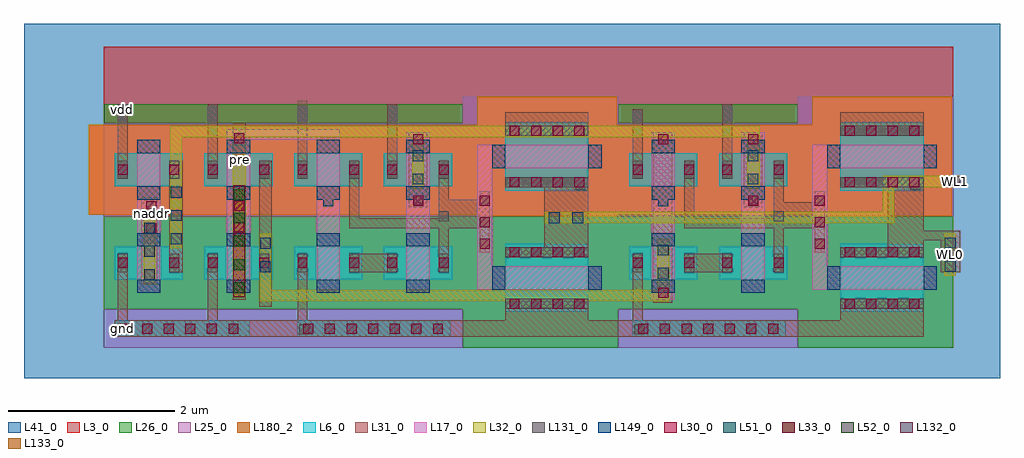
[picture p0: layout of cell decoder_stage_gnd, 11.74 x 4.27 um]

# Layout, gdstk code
from math import pi, radians
import gdstk
lib = gdstk.Library(unit=1e-6, precision=1e-09)
def R(c, l, rs):  # rectangles x0, y0, x1, y1
    for r in rs: c.add(gdstk.rectangle(r[:2], r[2:], *l))
def A(c, l, x, y, w, h, nx, ny, dx, dy):  # array of equal rectangles
    R(c, l, [(x+i*dx, y+j*dy, x+i*dx+w, y+j*dy+h) for i in range(nx) for j in range(ny)])
L3_0 = (3, 0)
L6_0 = (6, 0)
L17_0 = (17, 0)
L25_0 = (25, 0)
L26_0 = (26, 0)
L30_0 = (30, 0)
L31_0 = (31, 0)
L32_0 = (32, 0)
L33_0 = (33, 0)
L41_0 = (41, 0)
L51_0 = (51, 0)
L52_0 = (52, 0)
L131_0 = (131, 0)
L132_0 = (132, 0)
L133_0 = (133, 0)
L149_0 = (149, 0)
L180_2 = (180, 2)

pc_ct = lib.new_cell('pc_ct')
R(pc_ct, L30_0, [(0,0,0.12,0.12)])

nsvt25_cdns_588097396740 = lib.new_cell('nsvt25_CDNS_588097396740')
R(nsvt25_cdns_588097396740, L6_0, [(-0.27,0,0,0.4), (-0.27,0,0.55,0.4), (0.28,0,0.55,0.4)])
R(nsvt25_cdns_588097396740, L17_0, [(0,-0.16,0.28,0.56)])
R(nsvt25_cdns_588097396740, L26_0, [(-0.4,-0.36,0.68,0.76)])
R(nsvt25_cdns_588097396740, L31_0, [(-0.23,0.09,-0.11,0.31), (0.39,0.09,0.51,0.31)])
R(nsvt25_cdns_588097396740, L41_0, [(-0.54,-0.34,0.82,0.74)])
R(nsvt25_cdns_588097396740, L131_0, [(-0.23,0.09,-0.11,0.31), (0.39,0.09,0.51,0.31)])
R(nsvt25_cdns_588097396740, L149_0, [(0,-0.16,0.28,0), (0,0.4,0.28,0.56)])
r = gdstk.Reference(pc_ct, (0.39,0.14)); r.repetition = gdstk.Repetition(1, 1, v1=(0.26,0), v2=(0,0.26)); nsvt25_cdns_588097396740.add(r)
r = gdstk.Reference(pc_ct, (-0.23,0.14)); r.repetition = gdstk.Repetition(1, 1, v1=(0.26,0), v2=(0,0.26)); nsvt25_cdns_588097396740.add(r)
nsvt25_cdns_588097396740.add(gdstk.Label('d', (0.28,0), layer=6, texttype=0))
nsvt25_cdns_588097396740.add(gdstk.Label('s', (0,0), layer=6, texttype=0))
nsvt25_cdns_588097396740.add(gdstk.Label('d', (0.415,0.2), layer=127, texttype=0))
nsvt25_cdns_588097396740.add(gdstk.Label('s', (-0.135,0.2), layer=127, texttype=0))
nsvt25_cdns_588097396740.add(gdstk.Label('d', (0.45,0.2), layer=131, texttype=0))
nsvt25_cdns_588097396740.add(gdstk.Label('s', (-0.17,0.2), layer=131, texttype=0))
nsvt25_cdns_588097396740.add(gdstk.Label('g', (0.14,0.48), layer=149, texttype=0))
nsvt25_cdns_588097396740.add(gdstk.Label('g', (0.14,-0.08), layer=149, texttype=0))

psvt25_cdns_588097396741 = lib.new_cell('psvt25_CDNS_588097396741')
R(psvt25_cdns_588097396741, L3_0, [(-0.58,-0.34,0.86,0.74)])
R(psvt25_cdns_588097396741, L6_0, [(-0.27,0,0,0.4), (-0.27,0,0.55,0.4), (0.28,0,0.55,0.4)])
R(psvt25_cdns_588097396741, L17_0, [(0,-0.16,0.28,0.56)])
R(psvt25_cdns_588097396741, L25_0, [(-0.4,-0.36,0.68,0.76)])
R(psvt25_cdns_588097396741, L31_0, [(-0.23,0.09,-0.11,0.31), (0.39,0.09,0.51,0.31)])
R(psvt25_cdns_588097396741, L41_0, [(-0.58,-0.34,0.86,0.74)])
R(psvt25_cdns_588097396741, L131_0, [(-0.23,0.09,-0.11,0.31), (0.39,0.09,0.51,0.31)])
R(psvt25_cdns_588097396741, L149_0, [(0,-0.16,0.28,0), (0,0.4,0.28,0.56)])
R(psvt25_cdns_588097396741, L180_2, [(-0.58,-0.34,0.86,0.74)])
r = gdstk.Reference(pc_ct, (0.39,0.14)); r.repetition = gdstk.Repetition(1, 1, v1=(0.26,0), v2=(0,0.26)); psvt25_cdns_588097396741.add(r)
r = gdstk.Reference(pc_ct, (-0.23,0.14)); r.repetition = gdstk.Repetition(1, 1, v1=(0.26,0), v2=(0,0.26)); psvt25_cdns_588097396741.add(r)
psvt25_cdns_588097396741.add(gdstk.Label('d', (0.28,0), layer=6, texttype=0))
psvt25_cdns_588097396741.add(gdstk.Label('s', (0,0), layer=6, texttype=0))
psvt25_cdns_588097396741.add(gdstk.Label('d', (0.415,0.2), layer=127, texttype=0))
psvt25_cdns_588097396741.add(gdstk.Label('s', (-0.135,0.2), layer=127, texttype=0))
psvt25_cdns_588097396741.add(gdstk.Label('d', (0.45,0.2), layer=131, texttype=0))
psvt25_cdns_588097396741.add(gdstk.Label('s', (-0.17,0.2), layer=131, texttype=0))
psvt25_cdns_588097396741.add(gdstk.Label('g', (0.14,0.48), layer=149, texttype=0))
psvt25_cdns_588097396741.add(gdstk.Label('g', (0.14,-0.08), layer=149, texttype=0))
psvt25_cdns_588097396741.add(gdstk.Label('b', (0.14,0.2), layer=180, texttype=2))

c_2bit_decoder_gnd = lib.new_cell('2bit_decoder_gnd')
R(c_2bit_decoder_gnd, L3_0, [(0,1.12,2.16,3.16)])
R(c_2bit_decoder_gnd, L17_0, [(0.4,0.92,0.68,1.32), (1.48,0.92,1.76,1.32), (0.4,2.04,0.68,2.13), (1.48,2.04,1.76,2.13)])
R(c_2bit_decoder_gnd, L25_0, [(0,-0.46,0.04,0), (2.14,-0.46,2.16,0)])
R(c_2bit_decoder_gnd, L26_0, [(0,2.24,2.16,2.47)])
A(c_2bit_decoder_gnd, L30_0, 0.24, -0.29, 0.12, 0.12, 7, 1, 0.26, 0)
R(c_2bit_decoder_gnd, L41_0, [(-0.2,-0.46,2.34,2.7), (0,-0.46,2.16,2.7)])
R(c_2bit_decoder_gnd, L131_0, [(0.19,-0.3,0.31,-0.18), (1.87,1.06,1.99,1.18), (0.17,1.67,0.29,1.79)])
R(c_2bit_decoder_gnd, L149_0, [(0.48,1.24,0.6,1.36), (1.56,1.25,1.68,1.37)])
c_2bit_decoder_gnd.add(gdstk.FlexPath([(0.17,-0.23),(2.01,-0.23)], 0.2, ends="flush", simple_path=True, layer=6, datatype=0))  # L6_0
c_2bit_decoder_gnd.add(gdstk.FlexPath([(1.93,0.67),(1.93,1.04)], 0.12, ends=(0, 0.06), simple_path=True, layer=31, datatype=0))  # L31_0
c_2bit_decoder_gnd.add(gdstk.FlexPath([(0.85,1.04),(1.93,1.04)], 0.12, ends="extended", simple_path=True, layer=31, datatype=0))  # L31_0
c_2bit_decoder_gnd.add(gdstk.FlexPath([(0.85,1.57),(0.85,1.04)], 0.12, ends=(0, 0.06), simple_path=True, layer=31, datatype=0))  # L31_0
c_2bit_decoder_gnd.add(gdstk.FlexPath([(1.93,1.04),(1.93,1.57)], 0.12, ends=(0.06, 0), simple_path=True, layer=31, datatype=0))  # L31_0
c_2bit_decoder_gnd.add(gdstk.FlexPath([(0.91,0.56),(1.25,0.56)], 0.22, ends="flush", simple_path=True, layer=31, datatype=0))  # L31_0
c_2bit_decoder_gnd.add(gdstk.FlexPath([(0.23,0.45),(0.23,-0.23)], 0.12, ends="flush", simple_path=True, layer=31, datatype=0))  # L31_0
c_2bit_decoder_gnd.add(gdstk.FlexPath([(1.31,1.79),(1.31,2.47)], 0.12, ends="flush", simple_path=True, layer=31, datatype=0))  # L31_0
c_2bit_decoder_gnd.add(gdstk.FlexPath([(0.23,1.79),(0.23,2.41)], 0.12, ends="flush", simple_path=True, layer=31, datatype=0))  # L31_0
c_2bit_decoder_gnd.add(gdstk.FlexPath([(0.17,-0.23),(2.01,-0.23)], 0.2, ends="flush", simple_path=True, layer=31, datatype=0))  # L31_0
c_2bit_decoder_gnd.add(gdstk.FlexPath([(0.04,-0.23),(2.14,-0.23)], 0.46, ends="flush", simple_path=True, layer=25, datatype=0))  # L25_0
c_2bit_decoder_gnd.add(gdstk.Reference(nsvt25_cdns_588097396740, (0.4,0.36)))
c_2bit_decoder_gnd.add(gdstk.Reference(nsvt25_cdns_588097396740, (1.48,0.36)))
c_2bit_decoder_gnd.add(gdstk.Reference(psvt25_cdns_588097396741, (1.48,1.48)))
c_2bit_decoder_gnd.add(gdstk.Reference(psvt25_cdns_588097396741, (0.4,1.48)))
c_2bit_decoder_gnd.add(gdstk.Label('out', (1.93,1.12), layer=131, texttype=0))
c_2bit_decoder_gnd.add(gdstk.Label('gnd', (0.25,-0.24), layer=131, texttype=0))
c_2bit_decoder_gnd.add(gdstk.Label('vdd', (0.23,1.73), layer=131, texttype=0))
c_2bit_decoder_gnd.add(gdstk.Label('IN2', (0.54,1.3), layer=149, texttype=0))
c_2bit_decoder_gnd.add(gdstk.Label('IN1', (1.62,1.31), layer=149, texttype=0))

nsvt25_cdns_588097396742 = lib.new_cell('nsvt25_CDNS_588097396742')
R(nsvt25_cdns_588097396742, L6_0, [(-0.27,0,0,1), (-0.27,0,0.55,1), (0.28,0,0.55,1)])
R(nsvt25_cdns_588097396742, L17_0, [(0,-0.16,0.28,1.16)])
R(nsvt25_cdns_588097396742, L26_0, [(-0.4,-0.36,0.68,1.36)])
R(nsvt25_cdns_588097396742, L31_0, [(-0.23,0,-0.11,1), (0.39,0,0.51,1)])
R(nsvt25_cdns_588097396742, L41_0, [(-0.54,-0.34,0.82,1.34)])
R(nsvt25_cdns_588097396742, L131_0, [(-0.23,0,-0.11,1), (0.39,0,0.51,1)])
R(nsvt25_cdns_588097396742, L149_0, [(0,-0.16,0.28,0), (0,1,0.28,1.16)])
r = gdstk.Reference(pc_ct, (0.39,0.05)); r.repetition = gdstk.Repetition(1, 4, v1=(0.26,0), v2=(0,0.26)); nsvt25_cdns_588097396742.add(r)
r = gdstk.Reference(pc_ct, (-0.23,0.05)); r.repetition = gdstk.Repetition(1, 4, v1=(0.26,0), v2=(0,0.26)); nsvt25_cdns_588097396742.add(r)
nsvt25_cdns_588097396742.add(gdstk.Label('d', (0.28,0), layer=6, texttype=0))
nsvt25_cdns_588097396742.add(gdstk.Label('s', (0,0), layer=6, texttype=0))
nsvt25_cdns_588097396742.add(gdstk.Label('d', (0.415,0.5), layer=127, texttype=0))
nsvt25_cdns_588097396742.add(gdstk.Label('s', (-0.135,0.5), layer=127, texttype=0))
nsvt25_cdns_588097396742.add(gdstk.Label('d', (0.45,0.5), layer=131, texttype=0))
nsvt25_cdns_588097396742.add(gdstk.Label('s', (-0.17,0.5), layer=131, texttype=0))
nsvt25_cdns_588097396742.add(gdstk.Label('g', (0.14,1.08), layer=149, texttype=0))
nsvt25_cdns_588097396742.add(gdstk.Label('g', (0.14,-0.08), layer=149, texttype=0))

psvt25_cdns_588097396743 = lib.new_cell('psvt25_CDNS_588097396743')
R(psvt25_cdns_588097396743, L3_0, [(-0.58,-0.34,0.86,1.34)])
R(psvt25_cdns_588097396743, L6_0, [(-0.27,0,0,1), (-0.27,0,0.55,1), (0.28,0,0.55,1)])
R(psvt25_cdns_588097396743, L17_0, [(0,-0.16,0.28,1.16)])
R(psvt25_cdns_588097396743, L25_0, [(-0.4,-0.36,0.68,1.36)])
R(psvt25_cdns_588097396743, L31_0, [(-0.23,0,-0.11,1), (0.39,0,0.51,1)])
R(psvt25_cdns_588097396743, L41_0, [(-0.58,-0.34,0.86,1.34)])
R(psvt25_cdns_588097396743, L131_0, [(-0.23,0,-0.11,1), (0.39,0,0.51,1)])
R(psvt25_cdns_588097396743, L149_0, [(0,-0.16,0.28,0), (0,1,0.28,1.16)])
R(psvt25_cdns_588097396743, L180_2, [(-0.58,-0.34,0.86,1.34)])
r = gdstk.Reference(pc_ct, (0.39,0.05)); r.repetition = gdstk.Repetition(1, 4, v1=(0.26,0), v2=(0,0.26)); psvt25_cdns_588097396743.add(r)
r = gdstk.Reference(pc_ct, (-0.23,0.05)); r.repetition = gdstk.Repetition(1, 4, v1=(0.26,0), v2=(0,0.26)); psvt25_cdns_588097396743.add(r)
psvt25_cdns_588097396743.add(gdstk.Label('d', (0.28,0), layer=6, texttype=0))
psvt25_cdns_588097396743.add(gdstk.Label('s', (0,0), layer=6, texttype=0))
psvt25_cdns_588097396743.add(gdstk.Label('d', (0.415,0.5), layer=127, texttype=0))
psvt25_cdns_588097396743.add(gdstk.Label('s', (-0.135,0.5), layer=127, texttype=0))
psvt25_cdns_588097396743.add(gdstk.Label('d', (0.45,0.5), layer=131, texttype=0))
psvt25_cdns_588097396743.add(gdstk.Label('s', (-0.17,0.5), layer=131, texttype=0))
psvt25_cdns_588097396743.add(gdstk.Label('g', (0.14,1.08), layer=149, texttype=0))
psvt25_cdns_588097396743.add(gdstk.Label('g', (0.14,-0.08), layer=149, texttype=0))
psvt25_cdns_588097396743.add(gdstk.Label('b', (0.14,0.5), layer=180, texttype=2))

m1__po_cdns_588097396747 = lib.new_cell('M1__PO_CDNS_588097396747')
R(m1__po_cdns_588097396747, L17_0, [(-0.08,-0.37,0.08,0.37)])
A(m1__po_cdns_588097396747, L30_0, -0.06, -0.32, 0.12, 0.12, 1, 3, 0, 0.26)
R(m1__po_cdns_588097396747, L31_0, [(-0.06,-0.37,0.06,0.37)])

c_1u_invertor = lib.new_cell('1u_invertor')
R(c_1u_invertor, L17_0, [(0.26,0.39,0.44,0.49), (0.26,0.49,0.44,2.02), (0.26,2,0.44,2.06), (0.26,2.06,0.44,2.08), (0.26,2.08,0.44,2.13)])
R(c_1u_invertor, L25_0, [(0.09,1.27,0.24,2.71), (0.24,1.27,1.96,1.45), (0.24,2.53,1.96,2.71)])
R(c_1u_invertor, L26_0, [(0.09,-0.01,0.24,0.09), (0.09,0.09,1.96,1.22), (0.09,1.22,1.96,1.27)])
R(c_1u_invertor, L31_0, [(1.17,0.9,1.6,0.97), (1.17,0.97,1.6,1.71)])
R(c_1u_invertor, L41_0, [(0.08,-0.08,1.96,2.58)])
R(c_1u_invertor, L131_0, [(0.98,0.16,1.1,0.28), (0.29,1.14,0.41,1.26), (1.44,1.59,1.56,1.71), (0.78,2.24,0.9,2.36)])
c_1u_invertor.add(gdstk.Reference(nsvt25_cdns_588097396742, (1.6,0.39), rotation=pi/2))
c_1u_invertor.add(gdstk.Reference(psvt25_cdns_588097396743, (0.6,2.13), rotation=3*pi/2))
c_1u_invertor.add(gdstk.Reference(m1__po_cdns_588097396747, (0.35,1.2)))
c_1u_invertor.add(gdstk.Label('out', (1.5,1.65), layer=131, texttype=0))
c_1u_invertor.add(gdstk.Label('in', (0.35,1.2), layer=131, texttype=0))
c_1u_invertor.add(gdstk.Label('vdd', (0.84,2.3), layer=131, texttype=0))
c_1u_invertor.add(gdstk.Label('gnd', (1.04,0.22), layer=131, texttype=0))

m1__po_cdns_588097396740 = lib.new_cell('M1__PO_CDNS_588097396740')
R(m1__po_cdns_588097396740, L17_0, [(-0.08,-0.11,0.08,0.11)])
R(m1__po_cdns_588097396740, L30_0, [(-0.06,-0.06,0.06,0.06)])
R(m1__po_cdns_588097396740, L31_0, [(-0.06,-0.11,0.06,0.11)])

m1__po_cdns_588097396741 = lib.new_cell('M1__PO_CDNS_588097396741')
R(m1__po_cdns_588097396741, L17_0, [(-0.08,-0.24,0.08,0.24)])
R(m1__po_cdns_588097396741, L30_0, [(-0.06,-0.19,0.06,-0.07), (-0.06,0.07,0.06,0.19)])
R(m1__po_cdns_588097396741, L31_0, [(-0.06,-0.24,0.06,0.24)])

m2_m1_g_cdns_58809739674 = lib.new_cell('M2_M1_G_CDNS_588097396742')
R(m2_m1_g_cdns_58809739674, L31_0, [(-0.395,-0.07,0.395,0.07)])
R(m2_m1_g_cdns_58809739674, L32_0, [(-0.395,-0.07,0.395,0.07)])
A(m2_m1_g_cdns_58809739674, L51_0, -0.345, -0.065, 0.13, 0.13, 3, 1, 0.28, 0)

m2_m1_s_cdns_58809739674 = lib.new_cell('M2_M1_S_CDNS_588097396743')
R(m2_m1_s_cdns_58809739674, L31_0, [(-0.21,-0.115,0.21,0.115)])
R(m2_m1_s_cdns_58809739674, L32_0, [(-0.255,-0.07,0.255,0.07)])
R(m2_m1_s_cdns_58809739674, L51_0, [(-0.205,-0.065,-0.075,0.065), (0.075,-0.065,0.205,0.065)])

c_m2_m1_g_cdns_58809739674 = lib.new_cell('M2_M1_G_CDNS_588097396744')
R(c_m2_m1_g_cdns_58809739674, L31_0, [(-0.255,-0.07,0.255,0.07)])
R(c_m2_m1_g_cdns_58809739674, L32_0, [(-0.255,-0.07,0.255,0.07)])
R(c_m2_m1_g_cdns_58809739674, L51_0, [(-0.205,-0.065,-0.075,0.065), (0.075,-0.065,0.205,0.065)])

c_m2_m1_g_cdns_58809739674_ = lib.new_cell('M2_M1_G_CDNS_588097396745')
R(c_m2_m1_g_cdns_58809739674_, L31_0, [(-0.535,-0.07,0.535,0.07)])
R(c_m2_m1_g_cdns_58809739674_, L32_0, [(-0.535,-0.07,0.535,0.07)])
A(c_m2_m1_g_cdns_58809739674_, L51_0, -0.485, -0.065, 0.13, 0.13, 4, 1, 0.28, 0)

m3_m2_g_cdns_58809739674 = lib.new_cell('M3_M2_G_CDNS_588097396746')
R(m3_m2_g_cdns_58809739674, L32_0, [(-0.675,-0.07,0.675,0.07)])
R(m3_m2_g_cdns_58809739674, L33_0, [(-0.675,-0.07,0.675,0.07)])
A(m3_m2_g_cdns_58809739674, L52_0, -0.625, -0.065, 0.13, 0.13, 5, 1, 0.28, 0)

decoder_stage_gnd = lib.new_cell('decoder_stage_gnd')
R(decoder_stage_gnd, L3_0, [(0.02,1.12,10.24,3.16)])
R(decoder_stage_gnd, L17_0, [(6.61,0.12,6.89,0.2), (0.42,0.92,0.7,1.32), (1.5,0.92,1.78,1.32), (1.5,2.04,1.78,2.17), (1.78,2.04,2.86,2.17)])
R(decoder_stage_gnd, L25_0, [(1.9,-0.46,2.18,0)])
R(decoder_stage_gnd, L26_0, [(4.34,-0.46,6.21,-0.06), (8.37,-0.46,10.24,-0.06), (0.02,2.24,2.18,2.47)])
A(decoder_stage_gnd, L30_0, 0.22, -0.29, 0.12, 0.12, 6, 1, 0.26, 0)
R(decoder_stage_gnd, L31_0, [(8.88,-0.33,9.88,0.11), (4.85,-0.13,5.85,0.01), (2.01,0.03,2.04,1.79), (6.63,0.08,6.86,1.23), (1.57,0.12,1.73,0.32), (0.47,0.3,0.66,1.35), (1.57,0.32,1.73,0.86), (0.93,0.45,0.97,1.79), (5.32,0.75,5.42,0.85), (5.32,0.85,5.42,0.91), (1.57,0.86,1.73,2.24), (5.32,0.91,5.42,0.95), (5.32,0.95,5.68,0.99), (4.17,0.98,4.54,1.32), (8.2,0.98,8.57,1.29), (5.32,0.99,5.68,1.47), (3.69,1.23,3.91,1.99), (6.63,1.23,6.86,1.99), (7.72,1.23,7.94,1.99), (5.32,1.47,5.42,1.53), (6.63,1.99,6.64,2.13), (3.69,2.11,3.91,2.13), (6.64,2.11,6.86,2.13), (7.72,2.11,7.94,2.13), (4.85,2.21,5.85,2.37), (8.88,2.21,9.88,2.37)])
R(decoder_stage_gnd, L32_0, [(1.57,0.14,1.73,1.98)])
R(decoder_stage_gnd, L41_0, [(-0.94,-0.83,10.8,3.44), (-0.21,-0.47,10.01,3.15)])
R(decoder_stage_gnd, L131_0, [(0.18,-0.29,0.3,-0.17), (0.53,1.1,0.65,1.22), (0.19,2.35,0.31,2.47)])
R(decoder_stage_gnd, L132_0, [(10.14,0.6,10.26,0.72), (10.2,1.48,10.32,1.6)])
R(decoder_stage_gnd, L133_0, [(1.59,1.74,1.71,1.86)])
decoder_stage_gnd.add(gdstk.FlexPath([(6.75,0.17),(6.75,0.85)], 0.14, ends=(0.07, 0), simple_path=True, layer=32, datatype=0))  # L32_0
decoder_stage_gnd.add(gdstk.FlexPath([(1.965,0.17),(6.75,0.17)], 0.14, ends="extended", simple_path=True, layer=32, datatype=0))  # L32_0
decoder_stage_gnd.add(gdstk.FlexPath([(7.84,2.14),(7.84,1.46)], 0.14, ends=(0.07, 0), simple_path=True, layer=32, datatype=0))  # L32_0
decoder_stage_gnd.add(gdstk.FlexPath([(5.58,1.105),(9.46,1.105)], 0.14, ends=(0, 0.07), simple_path=True, layer=32, datatype=0))  # L32_0
decoder_stage_gnd.add(gdstk.FlexPath([(9.46,1.105),(9.46,1.54)], 0.14, ends="extended", simple_path=True, layer=32, datatype=0))  # L32_0
decoder_stage_gnd.add(gdstk.FlexPath([(0.89,2.14),(3.8,2.14)], 0.14, ends="extended", simple_path=True, layer=32, datatype=0))  # L32_0
decoder_stage_gnd.add(gdstk.FlexPath([(9.46,1.54),(10.32,1.54)], 0.14, ends=(0.07, 0), simple_path=True, layer=32, datatype=0))  # L32_0
decoder_stage_gnd.add(gdstk.FlexPath([(3.8,2.14),(7.84,2.14)], 0.14, ends="extended", simple_path=True, layer=32, datatype=0))  # L32_0
decoder_stage_gnd.add(gdstk.FlexPath([(3.8,2.14),(3.8,1.71)], 0.14, ends=(0.07, 0), simple_path=True, layer=32, datatype=0))  # L32_0
decoder_stage_gnd.add(gdstk.FlexPath([(1.965,0.655),(1.965,0.17)], 0.14, ends=(0, 0.07), simple_path=True, layer=32, datatype=0))  # L32_0
decoder_stage_gnd.add(gdstk.FlexPath([(7.83,2.14),(7.83,1.71)], 0.14, ends=(0.07, 0), simple_path=True, layer=32, datatype=0))  # L32_0
decoder_stage_gnd.add(gdstk.FlexPath([(0.89,1.13),(0.89,2.14)], 0.14, ends=(0, 0.07), simple_path=True, layer=32, datatype=0))  # L32_0
decoder_stage_gnd.add(gdstk.FlexPath([(0.02,-0.23),(1.9,-0.23)], 0.46, ends="flush", simple_path=True, layer=25, datatype=0))  # L25_0
decoder_stage_gnd.add(gdstk.FlexPath([(1.95,0.45),(1.95,0.03)], 0.12, ends="flush", simple_path=True, layer=31, datatype=0))  # L31_0
decoder_stage_gnd.add(gdstk.FlexPath([(1.33,1.79),(1.33,2.47)], 0.12, ends="flush", simple_path=True, layer=31, datatype=0))  # L31_0
decoder_stage_gnd.add(gdstk.FlexPath([(1.33,0.45),(1.33,-0.23)], 0.12, ends="flush", simple_path=True, layer=31, datatype=0))  # L31_0
decoder_stage_gnd.add(gdstk.FlexPath([(9.88,0.89),(10.26,0.89)], 0.12, ends=(0, 0.06), simple_path=True, layer=31, datatype=0))  # L31_0
decoder_stage_gnd.add(gdstk.FlexPath([(10.26,0.89),(10.26,0.45)], 0.12, ends=(0.06, 0), simple_path=True, layer=31, datatype=0))  # L31_0
decoder_stage_gnd.add(gdstk.FlexPath([(0.25,0.45),(0.25,-0.23)], 0.12, ends="flush", simple_path=True, layer=31, datatype=0))  # L31_0
decoder_stage_gnd.add(gdstk.FlexPath([(0.25,1.79),(0.25,2.47)], 0.12, ends="flush", simple_path=True, layer=31, datatype=0))  # L31_0
decoder_stage_gnd.add(gdstk.FlexPath([(8.22,-0.23),(9.87,-0.23)], 0.2, ends="flush", simple_path=True, layer=31, datatype=0))  # L31_0
decoder_stage_gnd.add(gdstk.FlexPath([(4.19,-0.23),(6.47,-0.23)], 0.2, ends="flush", simple_path=True, layer=31, datatype=0))  # L31_0
decoder_stage_gnd.add(gdstk.FlexPath([(1.77,-0.23),(2.39,-0.23)], 0.2, ends="flush", simple_path=True, layer=31, datatype=0))  # L31_0
decoder_stage_gnd.add(gdstk.FlexPath([(0.15,-0.23),(1.77,-0.23)], 0.2, ends="flush", simple_path=True, layer=31, datatype=0))  # L31_0
decoder_stage_gnd.add(gdstk.FlexPath([(0.87,1.57),(0.87,0.67)], 0.12, ends="flush", simple_path=True, layer=31, datatype=0))  # L31_0
decoder_stage_gnd.add(gdstk.FlexPath([(1.95,0.67),(1.95,1.57)], 0.12, ends="flush", simple_path=True, layer=31, datatype=0))  # L31_0
decoder_stage_gnd.add(gdstk.FlexPath([(2.41,2.41),(2.41,2.51)], 0.12, ends="flush", simple_path=True, layer=31, datatype=0))  # L31_0
decoder_stage_gnd.add(gdstk.FlexPath([(0.15,-0.23),(1.77,-0.23)], 0.2, ends="flush", simple_path=True, layer=6, datatype=0))  # L6_0
decoder_stage_gnd.add(gdstk.Reference(c_2bit_decoder_gnd, (6.21,0)))
decoder_stage_gnd.add(gdstk.Reference(c_2bit_decoder_gnd, (2.18,0)))
decoder_stage_gnd.add(gdstk.Reference(c_1u_invertor, (8.28,-0.15)))
decoder_stage_gnd.add(gdstk.Reference(c_1u_invertor, (4.25,-0.15)))
decoder_stage_gnd.add(gdstk.Reference(nsvt25_cdns_588097396740, (0.42,0.36)))
decoder_stage_gnd.add(gdstk.Reference(nsvt25_cdns_588097396740, (1.5,0.36)))
decoder_stage_gnd.add(gdstk.Reference(psvt25_cdns_588097396741, (0.42,1.48)))
decoder_stage_gnd.add(gdstk.Reference(psvt25_cdns_588097396741, (1.5,1.48)))
decoder_stage_gnd.add(gdstk.Reference(m1__po_cdns_588097396740, (6.75,0.2), rotation=pi/2))
decoder_stage_gnd.add(gdstk.Reference(m1__po_cdns_588097396740, (6.75,2.05), rotation=pi/2))
decoder_stage_gnd.add(gdstk.Reference(m1__po_cdns_588097396740, (7.83,1.31), rotation=pi/2))
decoder_stage_gnd.add(gdstk.Reference(m1__po_cdns_588097396740, (7.83,2.05), rotation=pi/2))
decoder_stage_gnd.add(gdstk.Reference(m1__po_cdns_588097396740, (3.8,1.31), rotation=pi/2))
decoder_stage_gnd.add(gdstk.Reference(m1__po_cdns_588097396740, (3.8,2.05), rotation=pi/2))
decoder_stage_gnd.add(gdstk.Reference(m1__po_cdns_588097396740, (1.65,2.06)))
decoder_stage_gnd.add(gdstk.Reference(m1__po_cdns_588097396741, (0.59,1.11)))
decoder_stage_gnd.add(gdstk.Reference(m1__po_cdns_588097396741, (1.65,1.12)))
decoder_stage_gnd.add(gdstk.Reference(m2_m1_g_cdns_58809739674, (0.89,1.13), rotation=pi/2))
decoder_stage_gnd.add(gdstk.Reference(m2_m1_g_cdns_58809739674, (0.57,0.7), rotation=pi/2))
decoder_stage_gnd.add(gdstk.Reference(m2_m1_s_cdns_58809739674, (10.2,0.66), rotation=3*pi/2))
decoder_stage_gnd.add(gdstk.Reference(m2_m1_s_cdns_58809739674, (5.58,1.105)))
decoder_stage_gnd.add(gdstk.Reference(c_m2_m1_g_cdns_58809739674, (6.75,0.575), rotation=pi/2))
decoder_stage_gnd.add(gdstk.Reference(c_m2_m1_g_cdns_58809739674, (1.965,0.655), rotation=pi/2))
decoder_stage_gnd.add(gdstk.Reference(c_m2_m1_g_cdns_58809739674, (7.83,1.71), rotation=pi/2))
decoder_stage_gnd.add(gdstk.Reference(c_m2_m1_g_cdns_58809739674, (3.8,1.71), rotation=pi/2))
decoder_stage_gnd.add(gdstk.Reference(c_m2_m1_g_cdns_58809739674_, (1.65,0.68), rotation=pi/2))
decoder_stage_gnd.add(gdstk.Reference(m3_m2_g_cdns_58809739674, (1.65,0.82), rotation=pi/2))
decoder_stage_gnd.add(gdstk.Label('naddr', (0.59,1.16), layer=131, texttype=0))
decoder_stage_gnd.add(gdstk.Label('gnd', (0.24,-0.23), layer=131, texttype=0))
decoder_stage_gnd.add(gdstk.Label('vdd', (0.25,2.41), layer=131, texttype=0))
decoder_stage_gnd.add(gdstk.Label('WL0', (10.2,0.66), layer=132, texttype=0))
decoder_stage_gnd.add(gdstk.Label('WL1', (10.26,1.54), layer=132, texttype=0))
decoder_stage_gnd.add(gdstk.Label('pre', (1.65,1.8), layer=133, texttype=0))

lib.write_gds('decoder_stage_gnd.gds')
